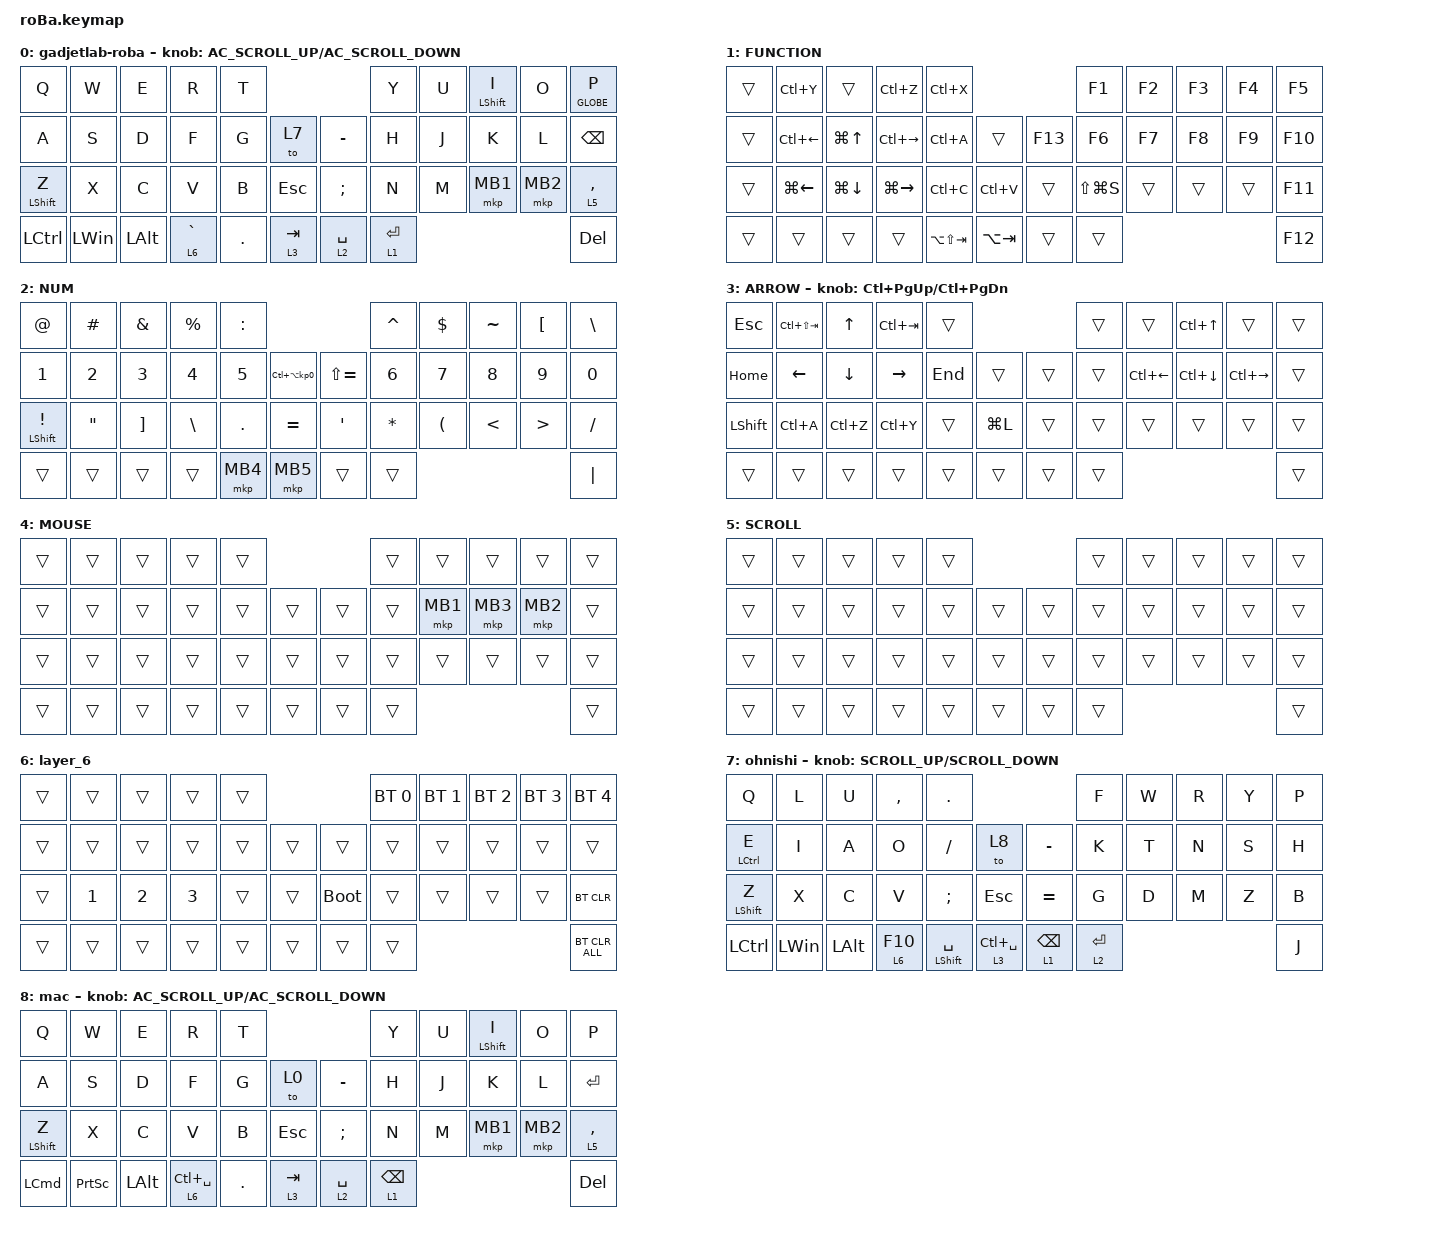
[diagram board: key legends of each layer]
#include <behaviors.dtsi>
#include <dt-bindings/zmk/bt.h>
#include <dt-bindings/zmk/keys.h>
#include <dt-bindings/zmk/pointing.h>

&mt {
    flavor = "balanced";
    quick-tap-ms = <0>;
};

&trackball {
    //automouse-layer = <4>;

    scroll-layers = <5>;

    // arrows {
    //     layers = <3>;
    //     bindings =
    //         <&kp RIGHT_ARROW>,
    //         <&kp LEFT_ARROW>,
    //         <&kp UP_ARROW>,
    //         <&kp DOWN_ARROW>;
    //     tick = <10>;
    //     wait-ms = <5>;
    //     tap-ms = <5>;
    // };
};

/ {
    combos {
        compatible = "zmk,combos";

        tab {
            bindings = <&kp TAB>;
            key-positions = <12 11>;
        };

        shift_tab {
            bindings = <&kp LS(TAB)>;
            key-positions = <12 13>;
        };

        double_quotation {
            bindings = <&kp UNDER>;
            key-positions = <20 21>;
        };

        under {
            bindings = <&kp INT_RO>;
            key-positions = <24 25>;
        };

        atte {
            bindings = <&kp LEFT_BRACKET>;
            key-positions = <18 19>;
        };

        alt {
            bindings = <&kp LEFT_ALT>;
            key-positions = <13 14>;
        };

        sc5 {
            bindings = <&kp LS(LG(N5))>;
            key-positions = <4 3>;
        };

        sc4 {
            bindings = <&kp LS(LG(N4))>;
            key-positions = <3 2>;
        };
    };

    macros {
        to_layer_0: to_layer_0 {
            compatible = "zmk,behavior-macro-one-param";
            #binding-cells = <1>;
            bindings = <&to 0 &macro_param_1to1 &kp MACRO_PLACEHOLDER>;
            label = "TO_LAYER_0";
        };
    };

    behaviors {
        lt_to_layer_0: lt_to_layer_0 {
            compatible = "zmk,behavior-hold-tap";
            label = "LAYER_TAP_TO_0";
            bindings = <&mo>, <&to_layer_0>;

            #binding-cells = <2>;
            tapping-term-ms = <200>;
        };
    };

    keymap {
        compatible = "zmk,keymap";

        gadjetlab-roba {
            bindings = <
&kp Q             &kp W         &kp E         &kp R                   &kp T                                                &kp Y        &kp U  &mt LEFT_SHIFT I  &kp O     &mt GLOBE P
&kp A             &kp S         &kp D         &kp F                   &kp G       &to 7                     &kp MINUS      &kp H        &kp J  &kp K             &kp L     &kp BACKSPACE
&mt LEFT_SHIFT Z  &kp X         &kp C         &kp V                   &kp B       &kp ESCAPE                &kp SEMICOLON  &kp N        &kp M  &mkp MB1          &mkp MB2  &lt 5 COMMA
&kp LCTRL         &kp LEFT_WIN  &kp LEFT_ALT  &lt_to_layer_0 6 GRAVE  &kp PERIOD  &lt_to_layer_0 3 TAB      &lt 2 SPACE    &lt 1 ENTER                                     &kp DEL
            >;

            sensor-bindings = <&inc_dec_kp C_AC_SCROLL_UP C_AC_SCROLL_DOWN>;
        };

        FUNCTION {
            bindings = <
&trans  &kp LC(Y)           &trans              &kp LC(Z)            &kp LC(X)                                  &kp F1         &kp F2  &kp F3  &kp F4  &kp F5
&trans  &kp LC(LEFT_ARROW)  &kp LG(UP_ARROW)    &kp LC(RIGHT)        &kp LC(A)        &trans           &kp F13  &kp F6         &kp F7  &kp F8  &kp F9  &kp F10
&trans  &kp LG(LEFT_ARROW)  &kp LG(DOWN_ARROW)  &kp LG(RIGHT_ARROW)  &kp LC(C)        &kp LC(V)        &trans   &kp LS(LG(S))  &trans  &trans  &trans  &kp F11
&trans  &trans              &trans              &trans               &kp LA(LS(TAB))  &kp LA(TAB)      &trans   &trans                                 &kp F12
            >;
        };

        NUM {
            bindings = <
&kp AT_SIGN                 &kp POUND          &kp AMPERSAND      &kp PERCENT    &kp COLON                                               &kp CARET     &kp DOLLAR            &kp TILDE      &kp LEFT_BRACKET  &kp BACKSLASH
&kp NUMBER_1                &kp NUMBER_2       &kp NUMBER_3       &kp NUMBER_4   &kp N5      &kp LC(LA(KP_NUMBER_0))      &kp LS(EQUAL)  &kp NUMBER_6  &kp N7                &kp N8         &kp N9            &kp N0
&mt LEFT_SHIFT EXCLAMATION  &kp DOUBLE_QUOTES  &kp RIGHT_BRACKET  &kp BACKSLASH  &kp PERIOD  &kp EQUAL                    &kp APOS       &kp ASTERISK  &kp LEFT_PARENTHESIS  &kp LESS_THAN  &kp GREATER_THAN  &kp SLASH
&trans                      &trans             &trans             &trans         &mkp MB4    &mkp MB5                     &trans         &trans                                                               &kp PIPE
            >;
        };

        ARROW {
            bindings = <
&kp ESCAPE      &kp LC(LS(TAB))  &kp UP_ARROW    &kp LC(TAB)      &trans                          &trans  &trans              &kp LC(UP_ARROW)    &trans               &trans
&kp HOME        &kp LEFT_ARROW   &kp DOWN_ARROW  &kp RIGHT_ARROW  &kp END  &trans         &trans  &trans  &kp LC(LEFT_ARROW)  &kp LC(DOWN_ARROW)  &kp LC(RIGHT_ARROW)  &trans
&kp LEFT_SHIFT  &kp LC(A)        &kp LC(Z)       &kp LC(Y)        &trans   &kp LG(L)      &trans  &trans  &trans              &trans              &trans               &trans
&trans          &trans           &trans          &trans           &trans   &trans         &trans  &trans                                                               &trans
            >;

            sensor-bindings = <&inc_dec_kp LC(PAGE_UP) LC(PAGE_DOWN)>;
        };

        MOUSE {
            bindings = <
&trans  &trans  &trans  &trans  &trans                      &trans  &trans    &trans    &trans    &trans
&trans  &trans  &trans  &trans  &trans  &trans      &trans  &trans  &mkp MB1  &mkp MB3  &mkp MB2  &trans
&trans  &trans  &trans  &trans  &trans  &trans      &trans  &trans  &trans    &trans    &trans    &trans
&trans  &trans  &trans  &trans  &trans  &trans      &trans  &trans                                &trans
            >;
        };

        SCROLL {
            bindings = <
&trans  &trans  &trans  &trans  &trans                      &trans  &trans  &trans  &trans  &trans
&trans  &trans  &trans  &trans  &trans  &trans      &trans  &trans  &trans  &trans  &trans  &trans
&trans  &trans  &trans  &trans  &trans  &trans      &trans  &trans  &trans  &trans  &trans  &trans
&trans  &trans  &trans  &trans  &trans  &trans      &trans  &trans                          &trans
            >;
        };

        layer_6 {
            bindings = <
&trans  &trans        &trans        &trans        &trans                           &bt BT_SEL 0  &bt BT_SEL 1  &bt BT_SEL 2  &bt BT_SEL 3  &bt BT_SEL 4
&trans  &trans        &trans        &trans        &trans  &trans      &trans       &trans        &trans        &trans        &trans        &trans
&trans  &kp NUMBER_1  &kp NUMBER_2  &kp NUMBER_3  &trans  &trans      &bootloader  &trans        &trans        &trans        &trans        &bt BT_CLR
&trans  &trans        &trans        &trans        &trans  &trans      &trans       &trans                                                  &bt BT_CLR_ALL
            >;
        };

        ohnishi {
            bindings = <
&kp Q               &kp L         &kp U         &kp COMMA             &kp PERIOD                                                                        &kp F        &kp W  &kp R  &kp Y  &kp P
&mt LEFT_CONTROL E  &kp I         &kp A         &kp O                 &kp SLASH             &to 8                           &kp MINUS                   &kp K        &kp T  &kp N  &kp S  &kp H
&mt LEFT_SHIFT Z    &kp X         &kp C         &kp V                 &kp SEMICOLON         &kp ESCAPE                      &kp EQUAL                   &kp G        &kp D  &kp M  &kp Z  &kp B
&kp LEFT_CONTROL    &kp LEFT_WIN  &kp LEFT_ALT  &lt_to_layer_0 6 F10  &mt LEFT_SHIFT SPACE  &lt_to_layer_0 3 LC(SPACE)      &lt_to_layer_0 1 BACKSPACE  &lt 2 ENTER                       &kp J
            >;

            sensor-bindings = <&inc_dec_kp K_SCROLL_UP K_SCROLL_DOWN>;
        };

        mac {
            bindings = <
&kp Q             &kp W            &kp E         &kp R                       &kp T                                                      &kp Y                       &kp U  &mt LEFT_SHIFT I  &kp O     &kp P
&kp A             &kp S            &kp D         &kp F                       &kp G    &to 0                     &kp MINUS               &kp H                       &kp J  &kp K             &kp L     &kp ENTER
&mt LEFT_SHIFT Z  &kp X            &kp C         &kp V                       &kp B    &kp ESCAPE                &kp SEMICOLON           &kp N                       &kp M  &mkp MB1          &mkp MB2  &lt_to_layer_0 5 COMMA
&kp LEFT_COMMAND  &kp PRINTSCREEN  &kp LEFT_ALT  &lt_to_layer_0 6 LC(SPACE)  &kp DOT  &lt_to_layer_0 3 TAB      &lt_to_layer_0 2 SPACE  &lt_to_layer_0 1 BACKSPACE                                     &kp DEL
            >;

            sensor-bindings = <&inc_dec_kp C_AC_SCROLL_UP C_AC_SCROLL_DOWN>;
        };
    };
};
